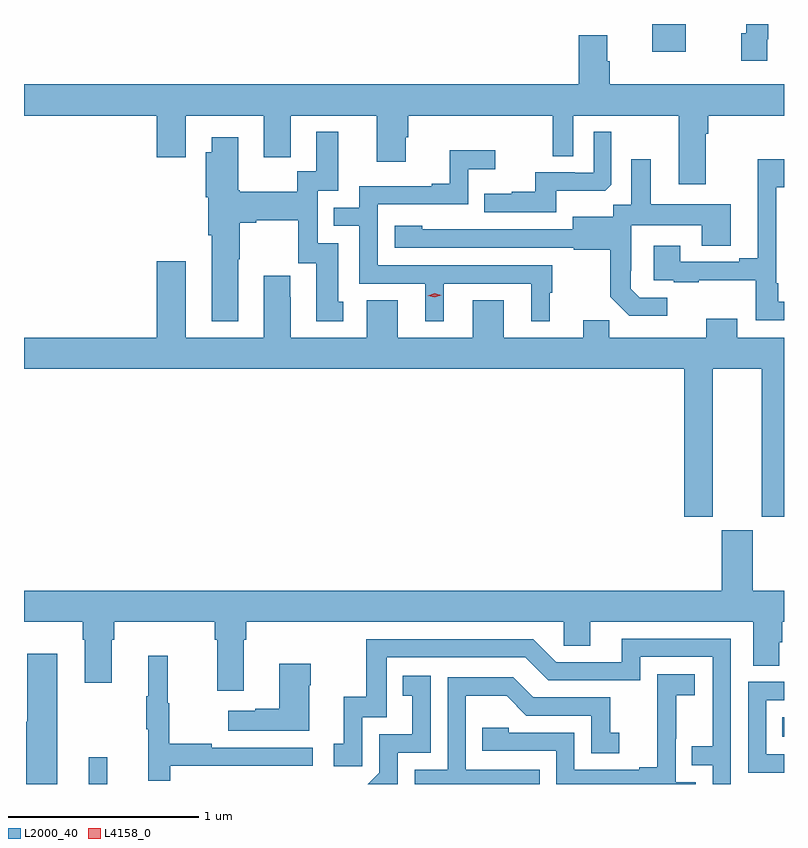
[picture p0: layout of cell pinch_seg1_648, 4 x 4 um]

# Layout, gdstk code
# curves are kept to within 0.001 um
import gdstk
lib = gdstk.Library(unit=1e-6, precision=1e-09)
def R(c, l, rs):  # rectangles x0, y0, x1, y1
    for r in rs: c.add(gdstk.rectangle(r[:2], r[2:], *l))
def P(c, l, *ps):  # polygons
    for p in ps: c.add(gdstk.Polygon(p, *l))
L2000_40 = (2000, 40)
L4158_0 = (4158, 0)

pinch_seg1_648 = lib.new_cell('pinch_seg1_648')
R(pinch_seg1_648, L2000_40, [(795.266,549.546,795.363,549.688), (798.916,549.794,798.924,549.898), (798.23,553.4,798.406,553.546)])
P(pinch_seg1_648, L2000_40, [(798.835,553.465),(798.842,553.465),(798.842,553.546),(798.726,553.546),(798.726,553.497),(798.7,553.497),(798.7,553.353),(798.835,553.353)],
  [(798.511,552.968),(798.524,552.968),(798.524,553.064),(798.924,553.064),(798.924,553.228),(798.008,553.228),(798.008,553.349),(797.995,553.349),(797.995,553.486),(797.843,553.486),(797.843,553.228),(794.924,553.228),(794.924,553.064),(795.623,553.064),(795.623,552.846),(795.775,552.846),(795.775,553.064),(796.187,553.064),(796.187,552.846),(796.327,552.846),(796.327,553.064),(796.781,553.064),(796.781,552.822),(796.933,552.822),(796.933,552.951),(796.946,552.951),(796.946,553.064),(797.706,553.064),(797.706,552.85),(797.814,552.85),(797.814,553.064),(798.371,553.064),(798.371,552.702),(798.511,552.702)],
  [(797.725,552.668),(797.983,552.668),(798.015,552.699),(798.015,552.979),(797.922,552.979),(797.922,552.762),(797.822,552.762),(797.822,552.765),(797.615,552.765),(797.615,552.664),(797.491,552.664),(797.491,552.652),(797.347,552.652),(797.347,552.555),(797.725,552.555)],
  [(796.051,552.307),(796.059,552.307),(796.059,552.5),(796.147,552.5),(796.147,552.512),(796.367,552.512),(796.367,552.288),(796.463,552.288),(796.463,551.982),(796.603,551.982),(796.603,552.084),(796.579,552.084),(796.579,552.393),(796.47,552.393),(796.47,552.669),(796.579,552.669),(796.579,552.979),(796.463,552.979),(796.463,552.77),(796.362,552.77),(796.362,552.664),(796.059,552.664),(796.059,552.672),(796.051,552.672),(796.051,552.949),(795.911,552.949),(795.911,552.87),(795.881,552.87),(795.881,552.634),(795.893,552.634),(795.893,552.434),(795.911,552.434),(795.911,551.981),(796.051,551.981)],
  [(797.134,552.18),(797.594,552.18),(797.594,551.981),(797.692,551.981),(797.692,552.132),(797.704,552.132),(797.704,552.276),(796.785,552.276),(796.785,552.597),(797.262,552.597),(797.262,552.782),(797.404,552.782),(797.404,552.881),(797.164,552.881),(797.164,552.706),(797.069,552.706),(797.069,552.693),(796.689,552.693),(796.689,552.579),(796.555,552.579),(796.555,552.483),(796.689,552.483),(796.689,552.18),(797.036,552.18),(797.036,551.981),(797.134,551.981)],
  [(798.31,552.105),(798.165,552.105),(798.118,552.152),(798.118,552.247),(798.12,552.247),(798.12,552.488),(798.491,552.488),(798.491,552.379),(798.643,552.379),(798.643,552.598),(798.223,552.598),(798.223,552.835),(798.119,552.835),(798.119,552.596),(798.024,552.596),(798.024,552.532),(797.813,552.532),(797.813,552.465),(797.019,552.466),(797.019,552.484),(796.875,552.484),(796.875,552.369),(797.817,552.369),(797.817,552.357),(798.009,552.357),(798.009,552.111),(798.109,552.011),(798.31,552.011)],
  [(798.924,552.085),(798.895,552.085),(798.895,552.181),(798.882,552.181),(798.882,552.686),(798.924,552.686),(798.924,552.835),(798.785,552.835),(798.785,552.313),(798.689,552.313),(798.689,552.294),(798.379,552.294),(798.379,552.379),(798.239,552.379),(798.239,552.198),(798.343,552.198),(798.343,552.186),(798.475,552.186),(798.475,552.197),(798.774,552.197),(798.774,551.988),(798.924,551.988)],
  [(798.515,551.896),(798.005,551.896),(798.005,551.987),(797.867,551.987),(797.867,551.896),(797.449,551.896),(797.449,552.091),(797.285,552.091),(797.285,551.896),(796.891,551.896),(796.891,552.091),(796.727,552.091),(796.727,551.896),(796.327,551.896),(796.327,552.107),(796.324,552.107),(796.324,552.22),(796.187,552.22),(796.187,551.896),(795.775,551.896),(795.775,552.298),(795.623,552.298),(795.623,551.896),(794.924,551.896),(794.924,551.732),(798.398,551.732),(798.398,550.953),(798.55,550.953),(798.55,551.732),(798.806,551.732),(798.806,550.953),(798.924,550.953),(798.924,551.896),(798.679,551.896),(798.679,551.995),(798.515,551.995)],
  [(796.081,550.304),(796.094,550.304),(796.094,550.4),(797.766,550.4),(797.766,550.273),(797.905,550.273),(797.905,550.4),(798.761,550.4),(798.761,550.168),(798.9,550.168),(798.9,550.291),(798.914,550.291),(798.914,550.4),(798.924,550.4),(798.924,550.564),(798.76,550.564),(798.76,550.881),(798.596,550.881),(798.596,550.564),(794.924,550.564),(794.924,550.4),(795.233,550.4),(795.233,550.304),(795.245,550.304),(795.245,550.08),(795.385,550.08),(795.385,550.304),(795.398,550.304),(795.398,550.4),(795.929,550.4),(795.929,550.304),(795.941,550.304),(795.941,550.038),(796.081,550.038)],
  [(798.645,550.311),(798.071,550.311),(798.071,550.188),(797.724,550.188),(797.604,550.308),(796.725,550.308),(796.725,550.006),(796.607,550.006),(796.607,549.759),(796.554,549.759),(796.554,549.639),(796.704,549.639),(796.704,549.897),(796.833,549.897),(796.833,550.212),(797.562,550.212),(797.682,550.092),(798.168,550.092),(798.168,550.215),(798.549,550.215),(798.549,549.746),(798.439,549.746),(798.439,549.645),(798.549,549.645),(798.549,549.546),(798.645,549.546)],
  [(795.1,550.231),(794.942,550.231),(794.942,549.873),(794.936,549.873),(794.936,549.546),(795.1,549.546)],
  [(795.695,549.642),(796.444,549.642),(796.444,549.738),(795.911,549.738),(795.911,549.758),(795.688,549.758),(795.688,549.972),(795.68,549.972),(795.68,550.222),(795.578,550.222),(795.578,550.009),(795.567,550.009),(795.567,549.835),(795.578,549.835),(795.578,549.564),(795.695,549.564)],
  [(796.426,550.067),(796.434,550.067),(796.434,550.18),(796.268,550.18),(796.268,549.941),(796.142,549.941),(796.142,549.931),(795.999,549.931),(795.999,549.827),(796.426,549.827)],
  [(798.459,549.555),(798.354,549.555),(798.354,549.785),(798.356,549.785),(798.356,550.013),(798.454,550.013),(798.454,550.123),(798.256,550.123),(798.256,549.917),(798.257,549.917),(798.257,549.634),(798.161,549.634),(798.161,549.621),(797.82,549.621),(797.82,549.816),(797.475,549.816),(797.475,549.843),(797.335,549.843),(797.335,549.72),(797.724,549.72),(797.724,549.546),(798.459,549.546)],
  [(796.89,549.711),(797.064,549.711),(797.064,550.117),(796.918,550.117),(796.918,550.011),(796.967,550.011),(796.967,549.807),(796.794,549.807),(796.794,549.606),(796.734,549.546),(796.89,549.546)],
  [(797.639,549.621),(797.25,549.621),(797.25,550.01),(797.464,550.01),(797.568,549.906),(797.91,549.906),(797.91,549.708),(798.058,549.708),(798.058,549.817),(798.009,549.817),(798.009,550.002),(797.605,550.002),(797.5,550.107),(797.154,550.107),(797.154,549.621),(796.98,549.621),(796.98,549.546),(797.639,549.546)],
  [(798.924,549.702),(798.831,549.702),(798.831,549.987),(798.924,549.987),(798.924,550.083),(798.735,550.083),(798.735,549.606),(798.924,549.606)])
P(pinch_seg1_648, L4158_0, [(797.085,552.108),(797.05,552.116),(797.049,552.116),(797.05,552.117),(797.085,552.128),(797.12,552.119),(797.121,552.119),(797.12,552.118)])

lib.write_gds('pinch_seg1_648.gds')
